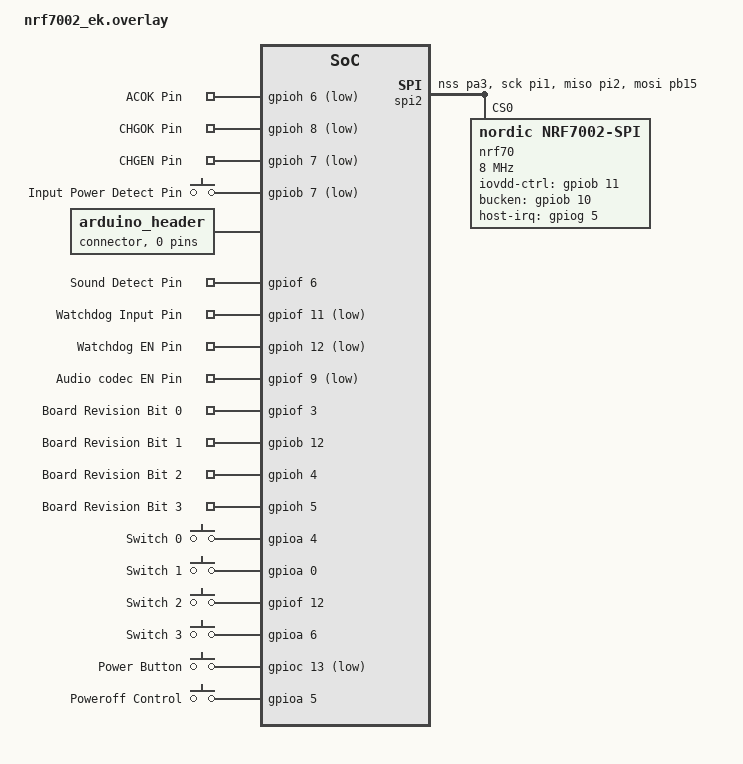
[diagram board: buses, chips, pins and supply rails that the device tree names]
// This overlay is intended for use with the nrf7002_ek module 
// on the STM32H573I-DK development board.

/  {
    charger_pins: charger_pins {
        compatible = "gpio-keys";

        acok_gpios: acok_gpios {
            gpios = <&gpioh 6 (GPIO_ACTIVE_LOW)>; //PH6
            label = "ACOK Pin";
        };

        chgok_gpios: chgok_gpios {
            gpios = <&gpioh 8 (GPIO_ACTIVE_LOW)>; //PH8
            label = "CHGOK Pin";
        };
        chgen_gpios: chgen_gpios {
            gpios = <&gpioh 7 (GPIO_ACTIVE_LOW)>; //PH7
            label = "CHGEN Pin";
        };
        input_power_gpios: input_power_gpios {
            gpios = <&gpiob 7 (GPIO_ACTIVE_LOW)>; //PB7
            label = "Input Power Detect Pin";
        };
    };

    aliases {
        acok = &acok_gpios;
        chgok = &chgok_gpios;
        chgen = &chgen_gpios;
        inputp = &input_power_gpios;
    };
};

/ {
    aliases {
        modem = &modem;
    };
};

&usart3 {
    status = "disabled";
};

/ {
    arduino_header: connector {
        gpio-map = <>;
    };
};

/ {
    aliases {
        led1 = &red_led_0;
        led2 = &orange_led_0;
        led3 = &green_led_0;
    };
};

/  {
    microphone_pin: microphone_pin {
        compatible = "gpio-keys";

        microphone_gpio: microphone_gpio {
            gpios = <&gpiof 6 (GPIO_ACTIVE_HIGH)>; //PF6
            label = "Sound Detect Pin";
        };
    };

    aliases {
        microphone = &microphone_gpio;
    };
};

/  {
    watchdog_pins: watchdog_pins {
        compatible = "gpio-keys";

        wdi_gpios: wdi_gpios {
            gpios = <&gpiof 11 (GPIO_ACTIVE_LOW)>; //PF11
            label = "Watchdog Input Pin";
        };

        wden_gpios: wden_gpios {
            gpios = <&gpioh 12 (GPIO_ACTIVE_LOW)>; //PH12
            label = "Watchdog EN Pin";
        };
    };

    aliases {
        wdi = &wdi_gpios;
        wden = &wden_gpios;
    };
};

/  {
    audio_codec_gpio: audio_codec_gpio {
        compatible = "gpio-keys";

        codec_en_gpios: codec_en_gpios {
            gpios = <&gpiof 9 (GPIO_ACTIVE_LOW)>; //PF9
            label = "Audio codec EN Pin";
        };
    };

    aliases {
        codec-en-pin = &codec_en_gpios;
    };
};


/ {
    board_rev_pins: board_rev_pins {
        compatible = "gpio-keys";

        rev0_gpio: rev0_gpio {
            gpios = <&gpiof 3 (GPIO_PULL_DOWN | GPIO_ACTIVE_HIGH)>; // PF3
            label = "Board Revision Bit 0";
        };

        rev1_gpio: rev1_gpio {
            gpios = <&gpiob 12 (GPIO_PULL_DOWN | GPIO_ACTIVE_HIGH)>; // PB12
            label = "Board Revision Bit 1";
        };

        rev2_gpio: rev2_gpio {
            gpios = <&gpioh 4 (GPIO_PULL_DOWN | GPIO_ACTIVE_HIGH)>; // PH4
            label = "Board Revision Bit 2";
        };

        rev3_gpio: rev3_gpio {
            gpios = <&gpioh 5 (GPIO_PULL_DOWN | GPIO_ACTIVE_HIGH)>; // PH5
            label = "Board Revision Bit 3";
        };
    };

    aliases {
        rev0 = &rev0_gpio;
        rev1 = &rev1_gpio;
        rev2 = &rev2_gpio;
        rev3 = &rev3_gpio;
    };
};


/ {
    switches: switches {
        compatible = "gpio-keys";

        switch0: switch0 {
            gpios = <&gpioa 4 (GPIO_PULL_DOWN | GPIO_ACTIVE_HIGH)>; //A1
            label = "Switch 0";
        };
        switch1: switch1 {
            gpios = <&gpioa 0 (GPIO_PULL_DOWN | GPIO_ACTIVE_HIGH)>; //A2
            label = "Switch 1";
        };
        switch2: switch2 {
            gpios = <&gpiof 12 (GPIO_PULL_DOWN | GPIO_ACTIVE_HIGH)>; //A5
            label = "Switch 2";
        };
        switch3: switch3 {
            gpios = <&gpioa 6 (GPIO_PULL_DOWN | GPIO_ACTIVE_HIGH)>; //A4
            label = "Switch 3";
        };
    };

    aliases {
        switch0 = &switch0;
        switch1 = &switch1;
        switch2 = &switch2;
        switch3 = &switch3;
    };
};

/ {
    power_sw: power_sw {
        compatible = "gpio-keys";
        power_sw_gpio: power_sw_gpio {
            gpios = <&gpioc 13 GPIO_ACTIVE_LOW>; //PC13
            label = "Power Button";
        };

        poweroff_gpio: poweroff_gpio {

            gpios = <&gpioa 5 GPIO_ACTIVE_HIGH>; //A3
            label = "Poweroff Control";
        };
    };


    aliases {
        power-sw = &power_sw_gpio;
        poweroff-gpio = &poweroff_gpio;
    };

    sw0 {
        status = "disabled";
    };
};

/ {
  chosen {
    zephyr,wifi = &nrf70_wlan;
  };
};

&spi2 { //SPI wifi 
	pinctrl-0 = <&spi2_nss_pa3  &spi2_sck_pi1
		     &spi2_miso_pi2 &spi2_mosi_pb15>;
	pinctrl-names = "default";
	status = "okay";

	nrf70: nrf7002@0 {
		compatible = "nordic,nrf7002-spi";
		status = "okay";
		reg = <0>;
		spi-max-frequency = <DT_FREQ_M(8)>;

		iovdd-ctrl-gpios = <&gpiob 11 GPIO_ACTIVE_HIGH>; //PB11
		bucken-gpios = <&gpiob 10 GPIO_ACTIVE_HIGH>; //PB10
		host-irq-gpios = <&gpiog 5 GPIO_ACTIVE_HIGH>; //PG5 

		wifi-max-tx-pwr-2g-dsss = <21>;
		wifi-max-tx-pwr-2g-mcs0 = <16>;
		wifi-max-tx-pwr-2g-mcs7 = <16>;


		wifi-max-tx-pwr-5g-low-mcs0 = <9>;
		wifi-max-tx-pwr-5g-low-mcs7 = <9>;
		wifi-max-tx-pwr-5g-mid-mcs0 = <11>;
		wifi-max-tx-pwr-5g-mid-mcs7 = <11>;
		wifi-max-tx-pwr-5g-high-mcs0 = <13>;
		wifi-max-tx-pwr-5g-high-mcs7 = <13>;	


		nrf70_wlan: nrf70_wlan {
			compatible = "nordic,wlan";
		};
	};
};

